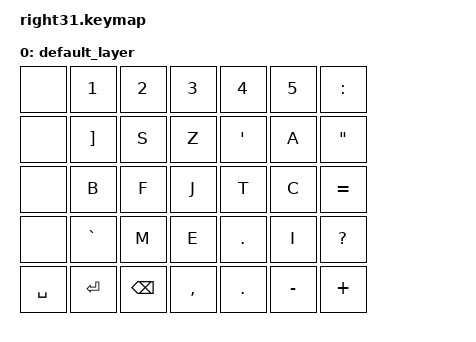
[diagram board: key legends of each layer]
#include <behaviors.dtsi>
#include <dt-bindings/zmk/keys.h>

/ {
    keymap {
        compatible = "zmk,keymap";

        default_layer {
            bindings = <
                // R0
                &none      &kp N1     &kp N2     &kp N3     &kp N4     &kp N5     &kp COLON

                // R1  ->  ъ(] RBKT)ь(м)   ы   я   э   ф   р
                &none      &kp RBKT      &kp S      &kp Z      &kp SQT    &kp A      &kp DQT

                // R2  ->  и   а   о   е   с   т
                &none      &kp B      &kp F      &kp J      &kp T      &kp C      &kp EQUAL

                // R3  ->  ё   ь   у   ю   ш   л
                &none      &kp GRAVE  &kp M   &kp E      &kp DOT    &kp I      &kp QMARK

                // R4 (thumb)
                &kp SPACE  &kp ENTER  &kp BSPC   &kp COMMA    &kp DOT    &kp MINUS  &kp PLUS
            >;
        };
    };
};
